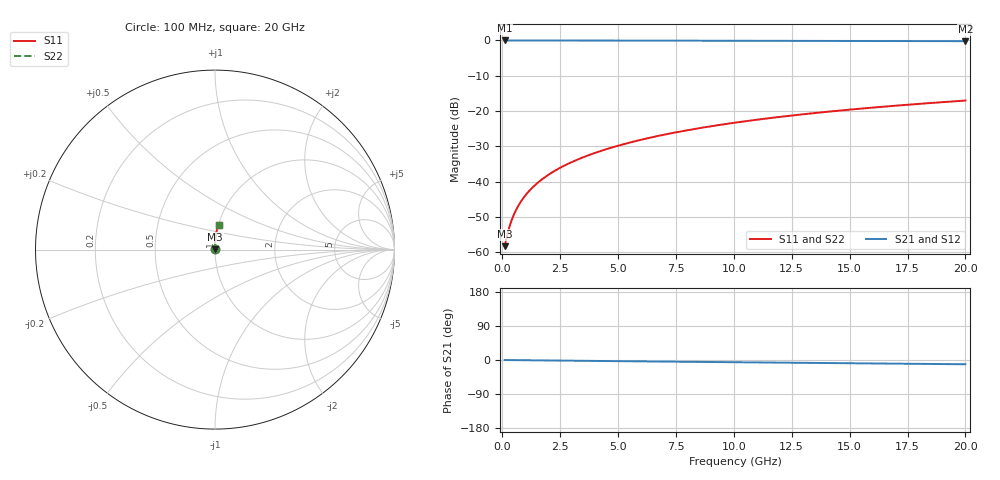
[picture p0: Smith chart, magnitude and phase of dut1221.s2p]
! Touchstone file exported from HFSS 2024.1.0
!  File:  C:/UserFiles/LocalFiles/RDL_TSV_Batchsim/temp_RDL_top_1221_1780240297.aedt
!  Generated:  11:13:41 PM May 31, 2026
!  Design:  RDL_top
!  Project:  temp_RDL_top_1221_1780240297
!  Setup:  Setup1
!  Solution:  Sweep
! Variables:
!  dtsv = 10.80580581um
!  hbump = 3um
!  htsv = 58.51um
!  ldown = 100um
!  lrdl = 108.04um
!  p = 40
!  p1 = 55.09um
!  rhole = 1um
!  t = 450um
!  tdown = 3.915915916um
!  trdl = 2.46um
!  wdown = 15.38538539um
!  wrdl = 23.56um
# GHz S MA R 50.000000
! Terminal data exported
! Port[1] = Box2_T1
! Port[2] = Box2_T2
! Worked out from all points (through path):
!   200 points, 100 MHz to 20 GHz, reference 50 ohm
!   highest |S21| = -0.01 dB at 100 MHz (marker M1); lowest = -0.2 dB at 20 GHz (marker M2)
!   group delay of S21, straight-line fit = 1.54 ps
!   lowest |S11| = -58.3 dB at 100 MHz (marker M3), VSWR 1.00, Z = 50.1 + j0.0667 ohm
!   |S11| at or under -10 dB: start of sweep to end of sweep
!   |S22| runs from -58.3 to -17.0 dB; largest |S21 - S12| = 3.2e-15
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0.1  0.001219 33.1  0.999 -0.1  0.999 -0.1  0.001219 33.1
! Gamma 0 0 0 0
! Port Impedance 50 0 50 0
0.2  0.001685 51.8  0.9989 -0.1  0.9989 -0.1  0.001685 51.8
0.3  0.002241 61.5  0.9989 -0.2  0.9989 -0.2  0.002241 61.5
0.4  0.002824 67.1  0.9989 -0.3  0.9989 -0.3  0.002824 67.1
0.5  0.003415 70.8  0.9988 -0.3  0.9988 -0.3  0.003415 70.8
0.6  0.004009 73.5  0.9988 -0.4  0.9988 -0.4  0.004009 73.5
0.8  0.005203 77.1  0.9987 -0.5  0.9987 -0.5  0.005203 77.1
1.1  0.007011 80.5  0.9985 -0.7  0.9985 -0.7  0.007011 80.5
1.3  0.008228 82.0  0.9984 -0.8  0.9984 -0.8  0.008228 82.0
1.6  0.01007 83.7  0.9983 -1.0  0.9983 -1.0  0.01007 83.7
2.1  0.01319 85.6  0.998 -1.3  0.998 -1.3  0.01319 85.6
2.7  0.01699 87.1  0.9975 -1.7  0.9975 -1.7  0.01699 87.1
3.5  0.02218 88.3  0.9967 -2.2  0.9967 -2.2  0.02218 88.3
4.2  0.02684 88.9  0.996 -2.6  0.996 -2.6  0.02684 88.9
5  0.03227 89.3  0.9951 -3.1  0.9951 -3.1  0.03227 89.3
5.9  0.03852 89.5  0.994 -3.6  0.994 -3.6  0.03851 89.5
6.8  0.04488 89.4  0.9928 -4.1  0.9928 -4.1  0.04488 89.4
8.4  0.05639 89.0  0.9908 -5.0  0.9908 -5.0  0.05639 89.0
10.1  0.06879 88.2  0.9886 -5.9  0.9886 -5.9  0.06879 88.2
13.4  0.09298 86.2  0.9844 -7.7  0.9844 -7.7  0.09298 86.2
16.7  0.117 84.1  0.9802 -9.5  0.9802 -9.5  0.117 84.1
20  0.1407 82.0  0.9759 -11.2  0.9759 -11.2  0.1407 82.0
